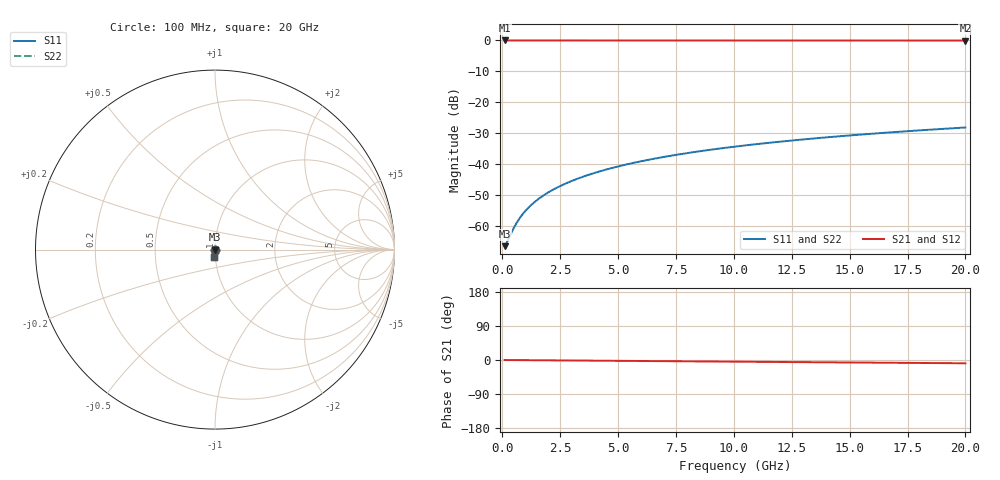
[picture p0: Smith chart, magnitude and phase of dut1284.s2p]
! Touchstone file exported from HFSS 2026.1.0
!  File:  C:/ffzhzh/LocalFiles/Ansys_Project_Files/temp_train_TSV_1284_1783194412_51560.aedt
!  Generated:  03:48:21 AM Jul  5, 2026
!  Design:  TSV
!  Project:  temp_train_TSV_1284_1783194412_51560
! Variables:
!  h_bsmrdl = 2um
!  h_ox = 20um
!  h_rdl = 5um
!  h_sub = 92.36um
!  h_tmrdl = 5um
!  h_tsv = 92.36um
!  h_via = 3um
!  l_bsmrdl = 300um
!  l_sub = 410.2um
!  l_tmrdl = 200um
!  m_sub = 200um
!  pitch = 16.25um
!  r_tsv = 5.1um
!  s_tmrdl = 10um
!  w_bsmrdl = 18um
!  w_sub = 500um
!  w_tmrdl = 12um
!  x_tsv_center1 = 206um
!  x_tsv_center2 = 524um
!  x_tsv_center3 = 736um
!  x_tsv_center4 = 1054um
!  x_tsv_center5 = 1266um
!  x_tsv_center6 = 1584um
# GHz S MA R 50.000000
! Terminal data exported
! Port[1] = TSV1_1_T1
! Port[2] = TSV1_1_T2
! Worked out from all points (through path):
!   200 points, 100 MHz to 20 GHz, reference 50 ohm
!   highest |S21| = 0.00 dB at 100 MHz (marker M1); lowest = 0.0 dB at 20 GHz (marker M2)
!   group delay of S21, straight-line fit = 1.2 ps
!   lowest |S11| = -66.6 dB at 100 MHz (marker M3), VSWR 1.00, Z = 50 - j0.0118 ohm
!   |S11| at or under -10 dB: start of sweep to end of sweep
!   |S22| runs from -66.6 to -28.2 dB; largest |S21 - S12| = 2.3e-15
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0.1  0.0004658 -14.6  0.9995 -0.0  0.9995 -0.0  0.0004658 -14.6
! Gamma 0 0 0 0
! Port Impedance 50 0 50 0
0.2  0.0005388 -27.2  0.9995 -0.1  0.9995 -0.1  0.0005388 -27.2
0.5  0.0009243 -50.9  0.9994 -0.2  0.9994 -0.2  0.0009243 -50.9
0.7  0.00124 -59.3  0.9994 -0.3  0.9994 -0.3  0.00124 -59.3
0.8  0.001405 -62.3  0.9993 -0.4  0.9993 -0.4  0.001405 -62.3
1  0.001741 -66.8  0.9993 -0.5  0.9993 -0.5  0.001741 -66.8
1.3  0.002255 -71.2  0.9992 -0.6  0.9992 -0.6  0.002255 -71.2
1.5  0.002603 -73.2  0.9992 -0.7  0.9992 -0.7  0.002603 -73.2
1.7  0.002953 -74.8  0.9992 -0.8  0.9992 -0.8  0.002953 -74.8
2.2  0.003843 -77.5  0.9991 -1.0  0.9991 -1.0  0.003843 -77.5
2.8  0.004934 -79.5  0.999 -1.2  0.999 -1.2  0.004934 -79.5
3.5  0.006236 -81.1  0.9988 -1.6  0.9988 -1.6  0.006236 -81.1
4.2  0.007564 -82.3  0.9987 -1.9  0.9987 -1.9  0.007564 -82.3
5  0.009106 -83.4  0.9986 -2.2  0.9986 -2.2  0.009106 -83.4
5.9  0.01086 -84.4  0.9984 -2.6  0.9984 -2.6  0.01086 -84.4
6.8  0.01263 -85.4  0.9983 -3.0  0.9983 -3.0  0.01263 -85.4
8.3  0.01561 -86.8  0.998 -3.6  0.998 -3.6  0.01561 -86.8
10.1  0.01918 -88.3  0.9978 -4.4  0.9978 -4.4  0.01918 -88.3
11.7  0.02237 -89.5  0.9976 -5.1  0.9976 -5.1  0.02237 -89.5
13.4  0.02575 -90.6  0.9973 -5.8  0.9973 -5.8  0.02575 -90.6
16.7  0.03233 -92.6  0.9969 -7.3  0.9969 -7.3  0.03233 -92.6
20  0.03894 -94.4  0.9963 -8.7  0.9963 -8.7  0.03894 -94.4
